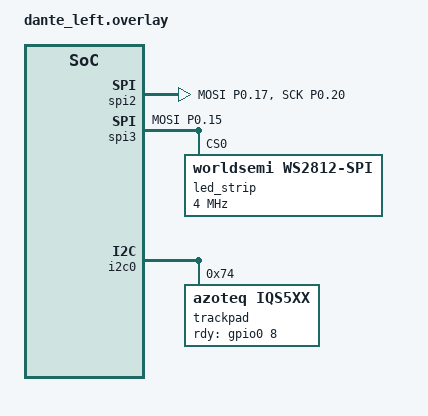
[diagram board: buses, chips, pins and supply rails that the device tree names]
/*
 * Copyright (c) 2020 Ryan Cross
 *
 * SPDX-License-Identifier: MIT
 */

#include "dante.dtsi"

&kscan0 {
    col-gpios
        = <&gpio1 11 GPIO_ACTIVE_HIGH>
        , <&gpio1 11 GPIO_ACTIVE_HIGH>
        , <&gpio0 3 GPIO_ACTIVE_HIGH>
        , <&gpio0 28 GPIO_ACTIVE_HIGH>
        , <&gpio1 13 GPIO_ACTIVE_HIGH>
        , <&gpio0 2 GPIO_ACTIVE_HIGH>
        , <&gpio0 29 GPIO_ACTIVE_HIGH>
        ;
};


#include <dt-bindings/led/led.h>


&pinctrl {
    spi2_default: spi2_default {
        group1 {
            psels = <NRF_PSEL(SPIM_MOSI, 0, 17)>,
            <NRF_PSEL(SPIM_SCK, 0, 20)>;
        };
    };
    spi2_sleep: spi2_sleep {
        group1 {
            psels = <NRF_PSEL(SPIM_MOSI, 0, 17)>,
            <NRF_PSEL(SPIM_SCK, 0, 20)>;
            low-power-enable;
        };
    };
};


lpm_view_spi: &spi2 {
    compatible = "nordic,nrf-spim";
    pinctrl-0 = <&spi2_default>;
    pinctrl-1 = <&spi2_sleep>;
    pinctrl-names = "default", "sleep";
    cs-gpios = <&gpio0 12 GPIO_ACTIVE_HIGH>;
};

nice_view_spi: &spi2 {
    compatible = "nordic,nrf-spim";
    pinctrl-0 = <&spi2_default>;
    pinctrl-1 = <&spi2_sleep>;
    pinctrl-names = "default", "sleep";
    cs-gpios = <&gpio0 12 GPIO_ACTIVE_HIGH>;
};

&pinctrl {
    spi3_default: spi3_default {
        group1 {
            psels = <NRF_PSEL(SPIM_MOSI, 0, 15)>;
        };
    };

    spi3_sleep: spi3_sleep {
        group1 {
            psels = <NRF_PSEL(SPIM_MOSI, 0, 15)>;
            low-power-enable;
        };
    };
};

&spi3 {
    compatible = "nordic,nrf-spim";
    status = "okay";

    pinctrl-0 = <&spi3_default>;
    pinctrl-1 = <&spi3_sleep>;
    pinctrl-names = "default", "sleep";

    led_strip: ws2812@0 {
        compatible = "worldsemi,ws2812-spi";

        /* SPI */
        reg = <0>; /* ignored, but necessary for SPI bindings */
        spi-max-frequency = <4000000>;

        /* WS2812 */
        chain-length = <36>; /* arbitrary; change at will */
        spi-one-frame = <0x70>;
        spi-zero-frame = <0x40>;

        color-mapping = <
            LED_COLOR_ID_GREEN
            LED_COLOR_ID_RED
            LED_COLOR_ID_BLUE
        >;
    };
};

&i2c0 {
  status = "okay";
  compatible = "nordic,nrf-twim";
  pinctrl-names = "default", "sleep";
  pinctrl-0 = <&i2c0_default>;
  pinctrl-1 = <&i2c0_sleep>;

  trackpad: trackpad@74 {
    compatible = "azoteq,iqs5xx";
    reg = <0x74>;
    status = "okay";
    rdy-gpios = <&gpio0 8 GPIO_ACTIVE_HIGH>;
  };
};

/ {
    chosen {
        zmk,underglow = &led_strip;
    };
    glidepoint_input {
          compatible = "zmk,input-listener";
          device = <&trackpad>;

      };
};
